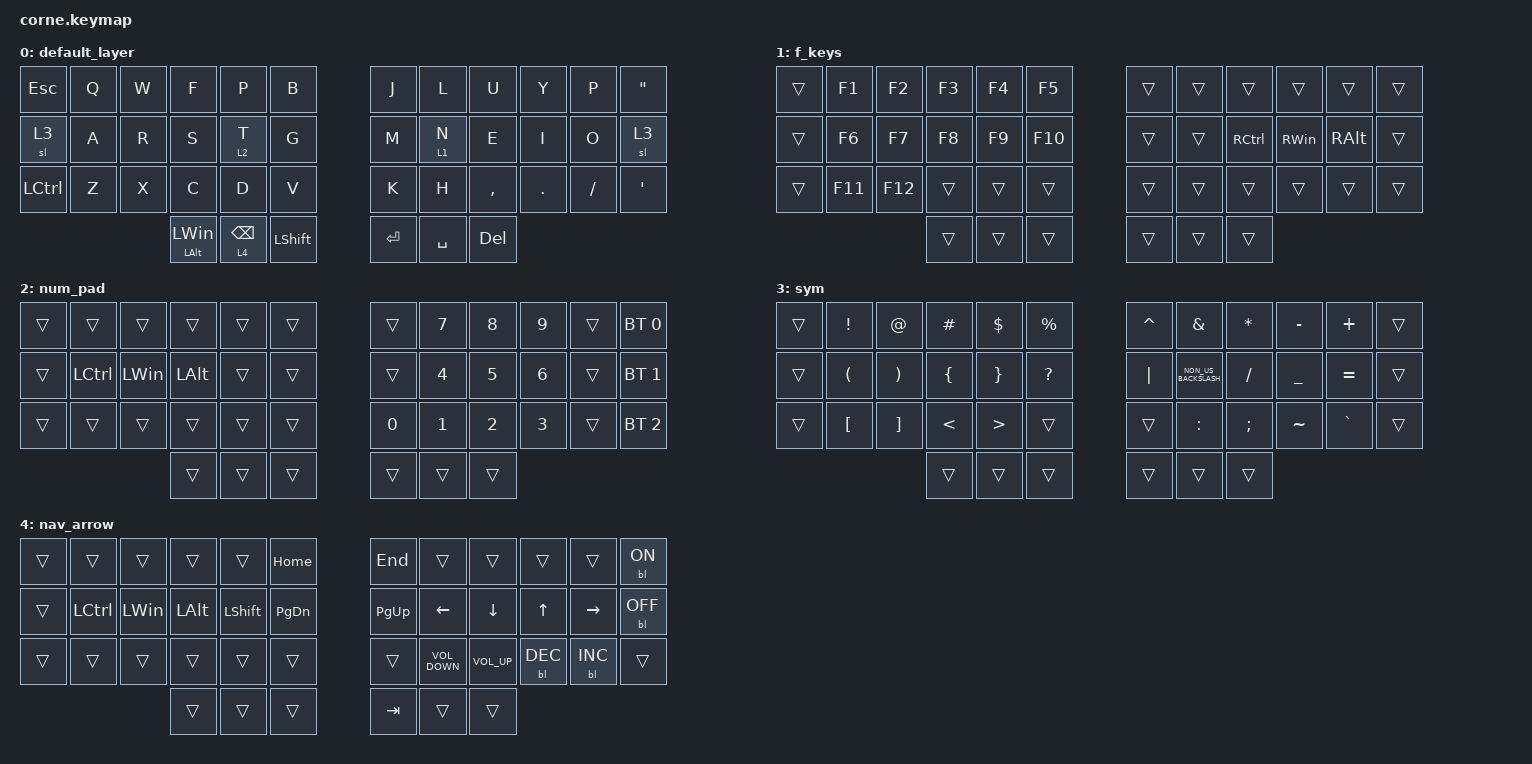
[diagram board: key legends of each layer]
/*
 * Copyright (c) 2020 The ZMK Contributors
 *
 * SPDX-License-Identifier: MIT
 */

#include <behaviors.dtsi>
#include <dt-bindings/zmk/backlight.h>
#include <dt-bindings/zmk/bt.h>
#include <dt-bindings/zmk/keys.h>

/ {
    keymap {
        compatible = "zmk,keymap";

        default_layer {
            // -----------------------------------------------------------------------------------------
            // |  TAB |  Q  |  W  |  E  |  R  |  T  |   |  Y  |  U   |  I  |  O  |  P  | BSPC |
            // | CTRL |  A  |  S  |  D  |  F  |  G  |   |  H  |  J   |  K  |  L  |  ;  |  '   |
            // | SHFT |  Z  |  X  |  C  |  V  |  B  |   |  N  |  M   |  ,  |  .  |  /  | ESC  |
            //                    | GUI | LWR | SPC |   | ENT | RSE  | ALT |

            bindings = <
&kp ESCAPE  &kp Q  &kp W  &kp F                  &kp P            &kp B             &kp J      &kp L      &kp U       &kp Y       &kp P      &kp DOUBLE_QUOTES
&sl 3       &kp A  &kp R  &kp S                  &lt 2 T          &kp G             &kp M      &lt 1 N    &kp E       &kp I       &kp O      &sl 3
&kp LCTRL   &kp Z  &kp X  &kp C                  &kp D            &kp V             &kp K      &kp H      &kp COMMA   &kp PERIOD  &kp SLASH  &kp SINGLE_QUOTE
                          &mt LEFT_ALT LEFT_WIN  &lt 4 BACKSPACE  &kp LEFT_SHIFT    &kp ENTER  &kp SPACE  &kp DELETE
            >;
        };

        f_keys {
            bindings = <
&trans  &kp F1   &kp F2   &kp F3  &kp F4  &kp F5     &trans  &trans  &trans     &trans    &trans         &trans
&trans  &kp F6   &kp F7   &kp F8  &kp F9  &kp F10    &trans  &trans  &kp RCTRL  &kp RWIN  &kp RIGHT_ALT  &trans
&trans  &kp F11  &kp F12  &trans  &trans  &trans     &trans  &trans  &trans     &trans    &trans         &trans
                          &trans  &trans  &trans     &trans  &trans  &trans
            >;
        };

        num_pad {
            bindings = <
&trans  &trans            &trans        &trans        &trans  &trans    &trans  &kp N7        &kp NUMBER_8  &kp NUMBER_9  &trans  &bt BT_SEL 0
&trans  &kp LEFT_CONTROL  &kp LEFT_WIN  &kp LEFT_ALT  &trans  &trans    &trans  &kp NUMBER_4  &kp N5        &kp NUMBER_6  &trans  &bt BT_SEL 1
&trans  &trans            &trans        &trans        &trans  &trans    &kp N0  &kp NUMBER_1  &kp NUMBER_2  &kp NUMBER_3  &trans  &bt BT_SEL 2
                                        &trans        &trans  &trans    &trans  &trans        &trans
            >;
        };

        sym {
            bindings = <
&trans  &kp EXCLAMATION       &kp AT_SIGN            &kp HASH        &kp DOLLAR        &kp PERCENT     &kp CARET  &kp AMPERSAND         &kp ASTERISK   &kp MINUS       &kp PLUS   &trans
&trans  &kp LEFT_PARENTHESIS  &kp RIGHT_PARENTHESIS  &kp LEFT_BRACE  &kp RIGHT_BRACE   &kp QUESTION    &kp PIPE   &kp NON_US_BACKSLASH  &kp SLASH      &kp UNDERSCORE  &kp EQUAL  &trans
&trans  &kp LEFT_BRACKET      &kp RIGHT_BRACKET      &kp LESS_THAN   &kp GREATER_THAN  &trans          &trans     &kp COLON             &kp SEMICOLON  &kp TILDE       &kp GRAVE  &trans
                                                     &trans          &trans            &trans          &trans     &trans                &trans
            >;
        };

        nav_arrow {
            bindings = <
&trans  &trans     &trans        &trans        &trans          &kp HOME         &kp END      &trans             &trans        &trans        &trans           &bl BL_ON
&trans  &kp LCTRL  &kp LEFT_WIN  &kp LEFT_ALT  &kp LEFT_SHIFT  &kp PAGE_DOWN    &kp PAGE_UP  &kp LEFT           &kp DOWN      &kp UP_ARROW  &kp RIGHT_ARROW  &bl BL_OFF
&trans  &trans     &trans        &trans        &trans          &trans           &trans       &kp C_VOLUME_DOWN  &kp C_VOL_UP  &bl BL_DEC    &bl BL_INC       &trans
                                 &trans        &trans          &trans           &kp TAB      &trans             &trans
            >;
        };
    };
};
